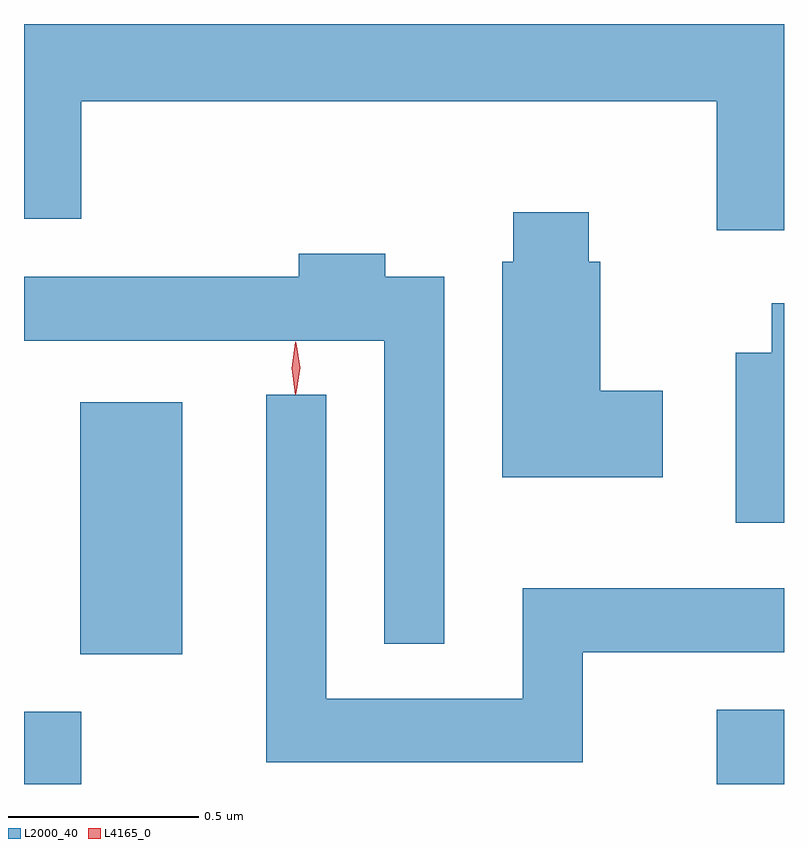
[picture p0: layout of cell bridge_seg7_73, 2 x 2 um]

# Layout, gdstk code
import gdstk
lib = gdstk.Library(unit=1e-6, precision=1e-09)
def R(c, l, rs):  # rectangles x0, y0, x1, y1
    for r in rs: c.add(gdstk.rectangle(r[:2], r[2:], *l))
def P(c, l, *ps):  # polygons
    for p in ps: c.add(gdstk.Polygon(p, *l))
L2000_40 = (2000, 40)
L4165_0 = (4165, 0)

bridge_seg7_73 = lib.new_cell('bridge_seg7_73')
R(bridge_seg7_73, L2000_40, [(1483.108,1745.819,1483.259,1746.009), (1484.931,1745.819,1485.108,1746.014), (1483.256,1746.161,1483.524,1746.824)])
P(bridge_seg7_73, L2000_40, [(1485.108,1747.819),(1483.108,1747.819),(1483.108,1747.306),(1483.259,1747.306),(1483.259,1747.616),(1484.931,1747.616),(1484.931,1747.276),(1485.108,1747.276)],
  [(1484.789,1746.854),(1484.624,1746.854),(1484.624,1747.194),(1484.594,1747.194),(1484.594,1747.324),(1484.396,1747.324),(1484.396,1747.194),(1484.366,1747.194),(1484.366,1746.626),(1484.789,1746.626)],
  [(1484.214,1747.154),(1484.059,1747.154),(1484.059,1747.214),(1483.831,1747.214),(1483.831,1747.154),(1483.108,1747.154),(1483.108,1746.986),(1484.056,1746.986),(1484.056,1746.188),(1484.214,1746.188)],
  [(1485.108,1747.084),(1485.076,1747.084),(1485.076,1746.954),(1484.981,1746.954),(1484.981,1746.506),(1485.108,1746.506)],
  [(1484.579,1746.166),(1485.108,1746.166),(1485.108,1746.334),(1484.421,1746.334),(1484.421,1746.044),(1483.904,1746.044),(1483.904,1746.843),(1483.746,1746.843),(1483.746,1745.876),(1484.579,1745.876)])
P(bridge_seg7_73, L4165_0, [(1483.822,1746.843),(1483.822,1746.844),(1483.812,1746.913),(1483.822,1746.982),(1483.822,1746.983),(1483.823,1746.982),(1483.832,1746.913),(1483.823,1746.844)],
  [(1483.824,1746.847),(1483.815,1746.914),(1483.824,1746.98),(1483.825,1746.98),(1483.825,1746.98),(1483.835,1746.914),(1483.825,1746.847),(1483.825,1746.847)])

lib.write_gds('bridge_seg7_73.gds')
